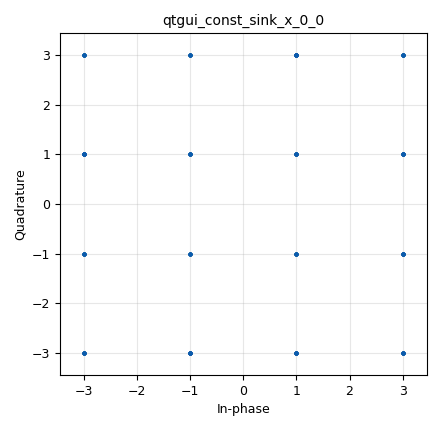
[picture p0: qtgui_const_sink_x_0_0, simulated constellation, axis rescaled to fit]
options:
  parameters:
    generate_options: qt_gui
    id: que2
    output_language: python
    title: Que_2
  states: {}

blocks:
- name: QAM64
  id: variable
  parameters:
    value: |-
      [-7-7j, -7-5j, -7-3j, -7-1j, -7+1j, -7+3j, -7+5j, -7+7j,
       -5-7j, -5-5j, -5-3j, -5-1j, -5+1j, -5+3j, -5+5j, -5+7j,
       -3-7j, -3-5j, -3-3j, -3-1j, -3+1j, -3+3j, -3+5j, -3+7j,
       -1-7j, -1-5j, -1-3j, -1-1j, -1+1j, -1+3j, -1+5j, -1+7j,
        1-7j,  1-5j,  1-3j,  1-1j,  1+1j,  1+3j,  1+5j,  1+7j,
        3-7j,  3-5j,  3-3j,  3-1j,  3+1j,  3+3j,  3+5j,  3+7j,
        5-7j,  5-5j,  5-3j,  5-1j,  5+1j,  5+3j,  5+5j,  5+7j,
        7-7j,  7-5j,  7-3j,  7-1j,  7+1j,  7+3j,  7+5j,  7+7j]
  states: {}
- name: amp_choose
  id: variable_qtgui_chooser
  parameters:
    label0: no noise
    label1: Noise with variance 0.01
    num_opts: '2'
    option0: '0'
    option1: '0.1'
    orient: Qt.QHBoxLayout
    type: real
    value: '0'
    widget: radio_buttons
  states: {}
- name: bpsk
  id: variable
  parameters:
    value: '[-1+0j,1+0j]'
  states: {}
- name: qam16
  id: variable
  parameters:
    value: '[-1-1j, +1-1j, 1+1j,-1+1j,1+3j, 3+1j, 3+3j, -1+3j, -3+1j, -3+3j, 3-1j, 1-3j, 3-3j, -3-1j, -1-3j, -3-3j]'
  states: {}
- name: qpsk
  id: variable
  parameters:
    value: '[-1-1j, +1-1j, 1+1j,-1+1j]'
  states: {}
- name: samp_rate
  id: variable
  parameters:
    value: '1000000'
  states: {}
- name: analog_noise_source_x_0
  id: analog_noise_source_x
  parameters:
    amp: amp_choose
    noise_type: analog.GR_GAUSSIAN
    seed: '0'
    type: complex
  states: {}
- name: analog_random_source_x_0
  id: analog_random_source_x
  parameters:
    max: '255'
    min: '0'
    num_samps: '1000'
    repeat: 'True'
    type: byte
  states: {}
- name: blocks_add_xx_0
  id: blocks_add_xx
  parameters:
    type: complex
  states: {}
- name: blocks_packed_to_unpacked_xx_1
  id: blocks_packed_to_unpacked_xx
  parameters:
    bits_per_chunk: '4'
    endianness: gr.GR_MSB_FIRST
    type: byte
  states: {}
- name: blocks_throttle2_0
  id: blocks_throttle2
  parameters:
    samples_per_second: samp_rate
    type: complex
  states: {}
- name: digital_chunks_to_symbols_xx_1
  id: digital_chunks_to_symbols_xx
  parameters:
    dimension: '1'
    in_type: byte
    out_type: complex
    symbol_table: qam16
  states: {}
- name: import_0
  id: import
  parameters:
    imports: import math
  states: {}
- name: qtgui_const_sink_x_0_0
  id: qtgui_const_sink_x
  parameters:
    grid: 'True'
    size: '1024'
    type: complex
  states: {}

connections:
- [analog_noise_source_x_0, '0', blocks_add_xx_0, '1']
- [analog_random_source_x_0, '0', blocks_packed_to_unpacked_xx_1, '0']
- [blocks_add_xx_0, '0', blocks_throttle2_0, '0']
- [blocks_packed_to_unpacked_xx_1, '0', digital_chunks_to_symbols_xx_1, '0']
- [blocks_throttle2_0, '0', qtgui_const_sink_x_0_0, '0']
- [digital_chunks_to_symbols_xx_1, '0', blocks_add_xx_0, '0']

metadata:
  file_format: 1
  grc_version: 3.10.10.0
